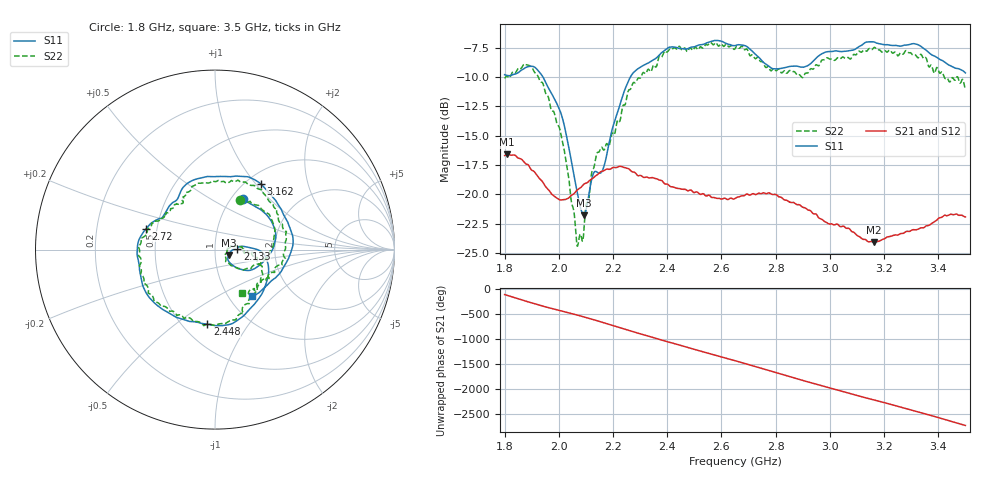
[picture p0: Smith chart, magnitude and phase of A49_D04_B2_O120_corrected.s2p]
! Created with skrf 1.9.0 (http://scikit-rf.org).
# Hz S RI R 50.0
!freq ReS11 ImS11 ReS21 ImS21 ReS12 ImS12 ReS22 ImS22
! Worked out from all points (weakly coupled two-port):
!   1601 points, 1.8 GHz to 3.5 GHz, reference 50 ohm
!   highest |S21| = -16.58 dB at 1.808 GHz (marker M1); lowest = -24.1 dB at 3.163 GHz (marker M2)
!   lowest |S11| = -21.8 dB at 2.092 GHz (marker M3), VSWR 1.18, Z = 58.1 - j3.45 ohm
!   |S11| at or under -10 dB: 1.942 GHz to 2.264 GHz (321.9 MHz wide, 15.3 % of centre)
!   |S22| runs from -24.4 to -7.0 dB; largest |S21 - S12| = 0.0024
!   S11 on the Smith chart (normalised r, x): 1.8 GHz: 1.14, +0.72; 2.133 GHz: 1.29, +0.01; 2.448 GHz: 0.65, -0.66; 2.72 GHz: 0.44, +0.12; 3.162 GHz: 1.16, +1.06; 3.5 GHz: 1.27, -0.74
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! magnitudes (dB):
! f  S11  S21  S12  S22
! 1.8 GHz  -9.8  -16.7  -16.7  -10.1
! 1.808 GHz  -9.9  -16.6  -16.6  -9.9
! 1.88 GHz  -9.2  -17.4  -17.4  -8.9
! 1.941 GHz  -10.0  -19.0  -19.0  -10.6
! 2.013 GHz  -13.4  -20.5  -20.4  -15.4
! 2.066 GHz  -19.6  -19.7  -19.7  -24.1
! 2.084 GHz  -21.4  -19.4  -19.3  -23.7
! 2.092 GHz  -21.8  -19.1  -19.2  -23.2
! 2.133 GHz  -18.1  -18.5  -18.5  -17.4
! 2.164 GHz  -17.7  -18.0  -17.9  -16.2
! 2.263 GHz  -10.0  -17.9  -17.9  -11.0
! 2.367 GHz  -8.2  -18.7  -18.7  -8.4
! 2.448 GHz  -7.6  -19.5  -19.5  -7.5
! 2.65 GHz  -7.3  -20.3  -20.3  -7.6
! 2.72 GHz  -7.9  -20.0  -19.9  -8.3
! 2.792 GHz  -9.3  -20.0  -20.0  -9.3
! 2.934 GHz  -8.7  -21.5  -21.5  -9.3
! 3.162 GHz  -7.0  -24.1  -24.0  -7.5
! 3.163 GHz  -7.0  -24.1  -24.0  -7.5
! 3.217 GHz  -7.3  -23.6  -23.6  -7.7
! 3.323 GHz  -7.2  -23.0  -22.9  -8.3
! 3.5 GHz  -9.6  -21.9  -21.9  -11.0
